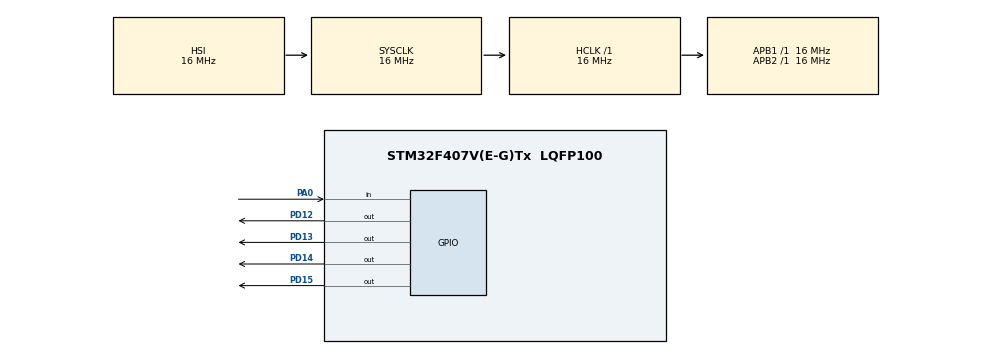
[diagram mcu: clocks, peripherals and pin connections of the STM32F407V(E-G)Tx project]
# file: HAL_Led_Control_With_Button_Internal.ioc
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FREERTOS.Tasks01=button,0,128,readButtonStateTask,Default,NULL,Dynamic,NULL,NULL;Led,0,128,LedFlashTask,Default,NULL,Dynamic,NULL,NULL
Mcu.Family=STM32F4
Mcu.Name=STM32F407V(E-G)Tx
Mcu.Package=LQFP100
NVIC.PriorityGroup=NVIC_PRIORITYGROUP_4
PA0-WKUP.Signal=GPIO_Input
PD12.Signal=GPIO_Output
PD13.Signal=GPIO_Output
PD14.Signal=GPIO_Output
PD15.Signal=GPIO_Output
ProjectManager.HeapSize=0x200
ProjectManager.StackSize=0x400
ProjectManager.TargetToolchain=STM32CubeIDE
RCC.AHBFreq_Value=16000000
RCC.APB1Freq_Value=16000000
RCC.APB2Freq_Value=16000000
RCC.CortexFreq_Value=16000000
RCC.HSE_VALUE=25000000
RCC.HSI_VALUE=16000000
RCC.LSE_VALUE=32768
RCC.SYSCLKFreq_VALUE=16000000
RCC.VCOOutputFreq_Value=192000000
VP_FREERTOS_VS_CMSIS_V1.Mode=CMSIS_V1
board=custom

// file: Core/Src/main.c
/* USER CODE BEGIN Header */
/**
  ******************************************************************************
  * @file           : main.c
  * @brief          : Main program body
  ******************************************************************************
  * @attention
  *
  * Copyright (c) 2022 STMicroelectronics.
  * All rights reserved.
  *
  * This software is licensed under terms that can be found in the LICENSE file
  * in the root directory of this software component.
  * If no LICENSE file comes with this software, it is provided AS-IS.
  *
  ******************************************************************************
  */
/* USER CODE END Header */
#include "main.h"
#include "cmsis_os.h"

 osThreadId buttonHandle;           //TaskHandle_t buttonHandle
osThreadId LedHandle;              ////TaskHandle_t LedHandle
/* USER CODE BEGIN PV */

uint8_t buttonCount=0;

/* USER CODE END PV */

void SystemClock_Config(void);
static void MX_GPIO_Init(void);

void readButtonStateTask(void const * argument);	//void readButtonStateTask(void *params);
void LedFlashTask(void const * argument);			//void ledFlashTask(void *params);

int main(void)
{

  /* MCU Configuration--------------------------------------------------------*/

  /* Reset of all peripherals, Initializes the Flash interface and the Systick. */
  HAL_Init();

  /* Configure the system clock */
  SystemClock_Config();

  /* Initialize all configured peripherals */
  MX_GPIO_Init();

  /* Create the thread(s) */
  /* definition and creation of button */
  osThreadDef(button, readButtonStateTask, osPriorityNormal, 0, 128);
  buttonHandle = osThreadCreate(osThread(button), NULL);

  //  xTaskCreate(readButtonStateTask, "Task of Button Read", 100, NULL, 3, &buttonHandle);

  /* definition and creation of Led */
  osThreadDef(Led, LedFlashTask, osPriorityNormal, 0, 128);
  LedHandle = osThreadCreate(osThread(Led), NULL);

  //  xTaskCreate( ledFlashTask, "Task of Led Control", 100,  NULL, 3, &LedHandle);

  /* Start scheduler */
  osKernelStart();    //vTaskStartScheduler();

  /* We should never get here as control is now taken by the scheduler */
  /* Infinite loop */
  while (1)
  {

  }
}

void SystemClock_Config(void)
{
  RCC_OscInitTypeDef RCC_OscInitStruct = {0};
  RCC_ClkInitTypeDef RCC_ClkInitStruct = {0};

  /** Configure the main internal regulator output voltage
  */
  __HAL_RCC_PWR_CLK_ENABLE();
  __HAL_PWR_VOLTAGESCALING_CONFIG(PWR_REGULATOR_VOLTAGE_SCALE1);

  /** Initializes the RCC Oscillators according to the specified parameters
  * in the RCC_OscInitTypeDef structure.
  */
  RCC_OscInitStruct.OscillatorType = RCC_OSCILLATORTYPE_HSI;
  RCC_OscInitStruct.HSIState = RCC_HSI_ON;
  RCC_OscInitStruct.HSICalibrationValue = RCC_HSICALIBRATION_DEFAULT;
  RCC_OscInitStruct.PLL.PLLState = RCC_PLL_NONE;
  if (HAL_RCC_OscConfig(&RCC_OscInitStruct) != HAL_OK)
  {
    Error_Handler();
  }

  /** Initializes the CPU, AHB and APB buses clocks
  */
  RCC_ClkInitStruct.ClockType = RCC_CLOCKTYPE_HCLK|RCC_CLOCKTYPE_SYSCLK
                              |RCC_CLOCKTYPE_PCLK1|RCC_CLOCKTYPE_PCLK2;
  RCC_ClkInitStruct.SYSCLKSource = RCC_SYSCLKSOURCE_HSI;
  RCC_ClkInitStruct.AHBCLKDivider = RCC_SYSCLK_DIV1;
  RCC_ClkInitStruct.APB1CLKDivider = RCC_HCLK_DIV1;
  RCC_ClkInitStruct.APB2CLKDivider = RCC_HCLK_DIV1;

  if (HAL_RCC_ClockConfig(&RCC_ClkInitStruct, FLASH_LATENCY_0) != HAL_OK)
  {
    Error_Handler();
  }
}

static void MX_GPIO_Init(void)
{
  GPIO_InitTypeDef GPIO_InitStruct = {0};

  /* GPIO Ports Clock Enable */
  __HAL_RCC_GPIOA_CLK_ENABLE();
  __HAL_RCC_GPIOD_CLK_ENABLE();

  /*Configure GPIO pin Output Level */
  HAL_GPIO_WritePin(GPIOD, GPIO_PIN_12|GPIO_PIN_13|GPIO_PIN_14|GPIO_PIN_15, GPIO_PIN_RESET);

  /*Configure GPIO pin : PA0 */
  GPIO_InitStruct.Pin = GPIO_PIN_0;
  GPIO_InitStruct.Mode = GPIO_MODE_INPUT;
  GPIO_InitStruct.Pull = GPIO_NOPULL;
  HAL_GPIO_Init(GPIOA, &GPIO_InitStruct);

  /*Configure GPIO pins : PD12 PD13 PD14 PD15 */
  GPIO_InitStruct.Pin = GPIO_PIN_12|GPIO_PIN_13|GPIO_PIN_14|GPIO_PIN_15;
  GPIO_InitStruct.Mode = GPIO_MODE_OUTPUT_PP;
  GPIO_InitStruct.Pull = GPIO_NOPULL;
  GPIO_InitStruct.Speed = GPIO_SPEED_FREQ_LOW;
  HAL_GPIO_Init(GPIOD, &GPIO_InitStruct);

}

void readButtonStateTask(void const * argument)
{
  /* USER CODE BEGIN 5 */
  /* Infinite loop */
  for(;;)
  {
	  while (1)
	  	  {
	           if(HAL_GPIO_ReadPin(GPIOA, GPIO_PIN_0) == GPIO_PIN_SET)
	           {
			while(HAL_GPIO_ReadPin(GPIOA, GPIO_PIN_0)== GPIO_PIN_SET);
	          	buttonCount++;
	           }
	           if (buttonCount == 5)
	                   	{
	                   		buttonCount =0;
	                   	}
	  	  }
  }
  /* USER CODE END 5 */
}

void LedFlashTask(void const * argument)
{
  /* USER CODE BEGIN LedFlashTask */
  /* Infinite loop */
  for(;;)
  {
	        if ( buttonCount ==0 )
	              {
	      	     HAL_GPIO_WritePin(GPIOD, GPIO_PIN_12 | GPIO_PIN_13 | GPIO_PIN_14 | GPIO_PIN_15, GPIO_PIN_RESET);
	              }

	        else if(buttonCount == 1)
	              {
	      	     HAL_GPIO_TogglePin(GPIOD, GPIO_PIN_12 | GPIO_PIN_13 | GPIO_PIN_14 | GPIO_PIN_15);
	      	     osDelay(1000);      //vTaskDelay(1000)
	              }

	        else if(buttonCount == 2)
	              {
	      	  HAL_GPIO_TogglePin(GPIOD, GPIO_PIN_12 | GPIO_PIN_13 | GPIO_PIN_14 | GPIO_PIN_15);
	      	  	  osDelay(750);
	              }

	        else if(buttonCount == 3)
	              {
	      	  HAL_GPIO_TogglePin(GPIOD, GPIO_PIN_12 | GPIO_PIN_13 | GPIO_PIN_14 | GPIO_PIN_15);
	      	  	  osDelay(500);
	              }

	        else if(buttonCount == 4)
	              {
	      	      osDelay(250);
	              }
  }
  /* USER CODE END LedFlashTask */
}

  void Error_Handler(void)
  {
    __disable_irq();
    while (1)
    {
    }
  }
